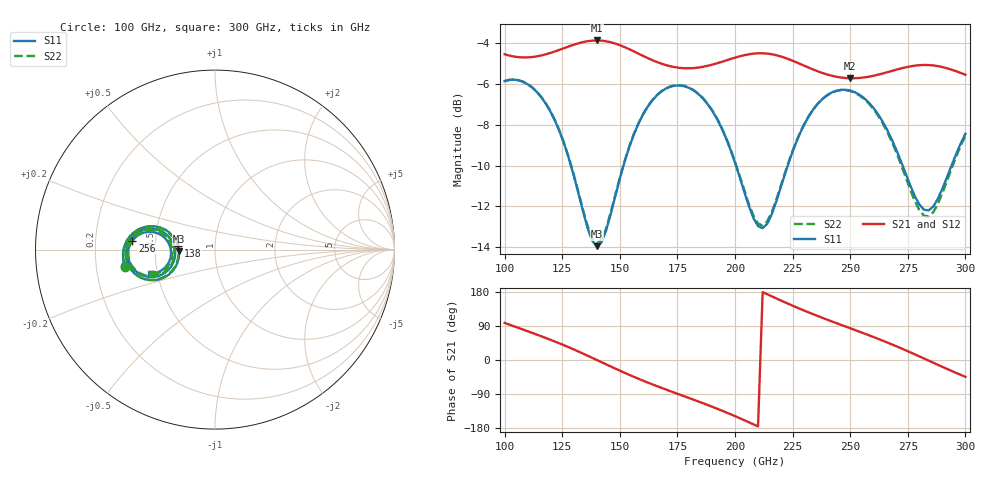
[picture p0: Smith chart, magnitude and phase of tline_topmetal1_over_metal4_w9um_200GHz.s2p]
#  GHZ S DB R 50
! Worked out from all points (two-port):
!   101 points, 100 GHz to 300 GHz, reference 50 ohm
!   highest |S21| = -3.86 dB at 140 GHz (marker M1); lowest = -5.7 dB at 250 GHz (marker M2)
!   |S21| within 3 dB of the highest: start of sweep to end of sweep
!   lowest |S11| = -14.0 dB at 140 GHz (marker M3), VSWR 1.50, Z = 33.3 - j0.628 ohm
!   |S11| at or under -10 dB: 128.8 GHz to 151.6 GHz (22.83 GHz wide, 16.3 % of centre); 200.4 GHz to 222.9 GHz (22.47 GHz wide, 10.6 % of centre); 272.7 GHz to 294 GHz (21.22 GHz wide, 7.49 % of centre)
!   |S22| runs from -13.8 to -5.8 dB; largest |S21 - S12| = 6.8e-14
!   S11 on the Smith chart (normalised r, x): 100 GHz: 0.33, -0.08; 138 GHz: 0.66, +0.03; 256 GHz: 0.37, +0.05; 300 GHz: 0.46, -0.14
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100  -5.86 -169.4  -4.54 97.9  -4.54 97.9  -5.85 -169.3
108  -5.89 179.2  -4.69 80.3  -4.69 80.3  -5.88 179.3
118  -6.98 166.1  -4.53 57.8  -4.53 57.8  -6.96 166.2
126  -8.99 158.7  -4.23 38.4  -4.23 38.4  -8.95 159.0
134  -12.23 162.5  -3.94 17.1  -3.94 17.1  -12.15 162.8
138  -13.69 174.3  -3.87 5.8  -3.87 5.8  -13.57 174.4
140  -13.95 -177.4  -3.86 0.2  -3.86 0.2  -13.83 -177.5
146  -12.40 -156.4  -3.94 -16.9  -3.94 -16.9  -12.32 -156.9
154  -9.13 -151.8  -4.28 -38.9  -4.28 -38.9  -9.09 -152.2
168  -6.37 -166.4  -4.99 -73.3  -4.99 -73.3  -6.35 -166.7
186  -6.69 170.9  -5.15 -113.8  -5.15 -113.8  -6.68 170.7
200  -9.85 160.9  -4.70 -148.1  -4.70 -148.1  -9.80 161.0
212  -13.07 -175.6  -4.49 179.1  -4.49 179.1  -12.94 -176.1
224  -9.63 -154.8  -4.81 146.0  -4.81 146.0  -9.58 -155.7
234  -7.24 -161.2  -5.29 120.7  -5.29 120.7  -7.23 -162.0
250  -6.32 -179.5  -5.71 83.8  -5.71 83.8  -6.34 179.6
256  -6.69 173.8  -5.67 70.2  -5.67 70.2  -6.72 172.9
268  -8.70 164.4  -5.36 41.4  -5.36 41.4  -8.80 163.2
276  -10.95 167.4  -5.13 20.5  -5.13 20.5  -11.16 166.2
284  -12.20 -175.3  -5.06 -1.5  -5.06 -1.5  -12.50 -175.4
292  -10.57 -160.2  -5.22 -23.4  -5.22 -23.4  -10.75 -159.4
300  -8.44 -159.3  -5.54 -44.4  -5.54 -44.4  -8.52 -158.5
